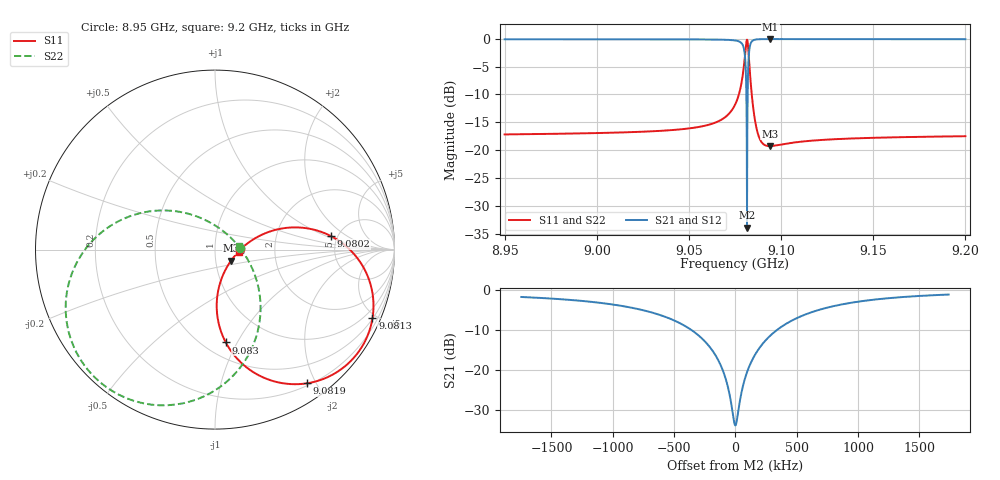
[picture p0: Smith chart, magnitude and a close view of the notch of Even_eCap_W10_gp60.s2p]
! Sonnet Data File
! From: emgraph Version : 16.52
! From Project: Resonator2_extremeCap
! Data is De-embedded
! Data File Written: 10/11/2017 17:55:28
!< HDATE 10/10/2017 20:37:37
!< MDATE 10/10/2017 20:37:37
!< PARAMS
!< Pwid1 = 2000.0
!< Pwid2 = 2000.0
!< Air_gap = 6.0
!< Width = 10.0
!< Gap = 60.0
!< END PARAMS
# GHZ S MA R 50.70000
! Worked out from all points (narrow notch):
!   1845 points, 8.95 GHz to 9.2 GHz, reference 50.7 ohm
!   highest |S21| = -0.05 dB at 9.0942 GHz (marker M1); lowest = -33.9 dB at 9.0815 GHz (marker M2)
!   notch at M2: 33.9 dB deep, 294 kHz wide at half that depth
!   lowest |S11| = -19.3 dB at 9.0938 GHz (marker M3), VSWR 1.24, Z = 60.1 - j7.61 ohm
!   |S11| at or under -10 dB: start of sweep to 9.0771 GHz; 9.0841 GHz to end of sweep
!   |S22| runs from -19.3 to -0.2 dB; largest |S21 - S12| = 0
!   S11 on the Smith chart (normalised r, x): 8.95 GHz: 1.32, +0.01; 9.0802 GHz: 4.40, +1.15; 9.0813 GHz: 0.51, -4.74; 9.0819 GHz: 0.23, -1.88; 9.083 GHz: 0.63, -0.90; 9.2 GHz: 1.30, -0.04
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8.95  0.1382 1.0  0.9904 -87.4  0.9904 -87.4  0.1382 4.1
!< P1 F=8.95 Eeff=(6.4467035 -2.972e-5) Z0=(51.7988068 1.1952e-4) R=0.0 C=0.0
!< P2 F=8.95 Eeff=(6.4467035 -2.972e-5) Z0=(51.7988068 1.1952e-4) R=0.0 C=0.0
8.9918  0.1413 1.4  0.99 -88.0  0.99 -88.0  0.1413 2.4
9.0334  0.1485 3.3  0.9889 -89.0  0.9889 -89.0  0.1485 -1.3
9.063  0.1734 9.0  0.9848 -91.2  0.9848 -91.2  0.1733 -11.5
9.075  0.2551 17.0  0.9665 -96.9  0.9665 -96.9  0.2547 -31.0
9.078378  0.3893 17.6  0.9193 -105.6  0.9193 -105.6  0.3883 -49.3
9.0802  0.6504 6.7  0.7514 -123.6  0.7514 -123.6  0.648 -75.6
9.080929  0.8649 -10.0  0.4766 -143.0  0.4766 -143.0  0.8614 -99.8
9.081276  0.9575 -23.6  0.2259 -155.7  0.2259 -155.7  0.9534 -117.4
9.081399  0.9758 -29.3  0.1169 -157.3  0.1169 -157.3  0.9715 -124.5
9.081522  0.982 -35.2  0.02009 -83.6  0.02009 -83.6  0.9776 -131.9
9.081673  0.9711 -42.7  0.1468 -9.9  0.1468 -9.9  0.9667 -141.3
9.081944  0.9047 -55.4  0.3866 -19.4  0.3866 -19.4  0.9004 -157.5
9.0824  0.7282 -71.8  0.669 -37.3  0.669 -37.3  0.7245 -180.0
9.083009  0.5207 -83.4  0.8464 -52.9  0.8464 -52.9  0.5178 159.4
9.0846  0.2623 -87.3  0.963 -69.7  0.963 -69.7  0.2606 128.7
9.0872  0.1445 -71.2  0.9889 -78.1  0.9889 -78.1  0.1435 95.2
9.0938  0.1086 -35.2  0.994 -83.7  0.994 -83.7  0.1083 47.8
9.094208  0.1086 -33.9  0.994 -83.9  0.994 -83.9  0.1084 46.2
9.1168  0.1216 -12.1  0.9926 -87.0  0.9926 -87.0  0.1215 18.0
9.1584  0.1299 -7.2  0.9915 -88.3  0.9915 -88.3  0.1299 10.5
9.2  0.1332 -6.2  0.9911 -89.0  0.9911 -89.0  0.1332 8.2
